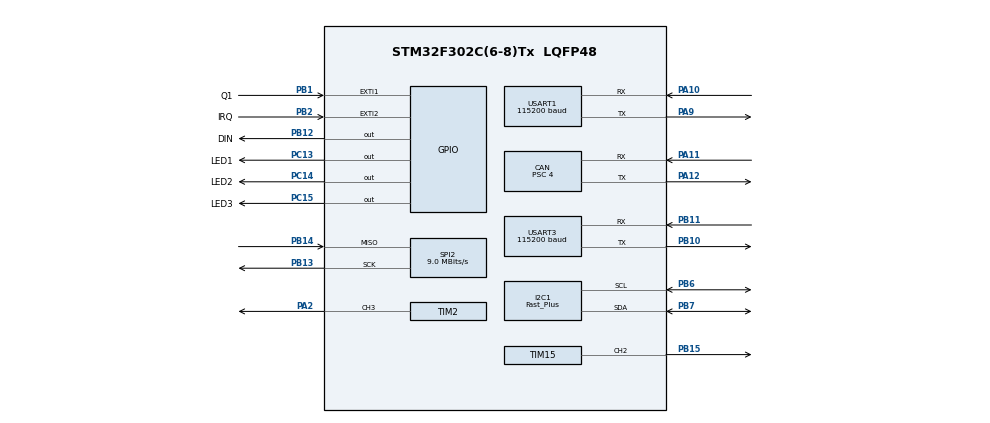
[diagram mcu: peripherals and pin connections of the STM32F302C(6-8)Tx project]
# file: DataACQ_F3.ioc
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CAN.BS1=CAN_BS1_4TQ
CAN.BS2=CAN_BS2_4TQ
CAN.CalculateBaudRate=1000000
CAN.CalculateTimeBit=1000
CAN.CalculateTimeQuantum=111.11111111111111
CAN.Prescaler=4
Dma.Request0=TIM2_CH3
Dma.TIM2_CH3.0.Direction=DMA_MEMORY_TO_PERIPH
Dma.TIM2_CH3.0.Instance=DMA1_Channel1
Dma.TIM2_CH3.0.MemDataAlignment=DMA_MDATAALIGN_HALFWORD
Dma.TIM2_CH3.0.MemInc=DMA_MINC_ENABLE
Dma.TIM2_CH3.0.Mode=DMA_NORMAL
Dma.TIM2_CH3.0.PeriphDataAlignment=DMA_PDATAALIGN_WORD
Dma.TIM2_CH3.0.PeriphInc=DMA_PINC_DISABLE
Dma.TIM2_CH3.0.Priority=DMA_PRIORITY_HIGH
I2C1.I2C_Speed_Mode=I2C_Fast_Plus
I2C1.Timing=0x00000001
Mcu.Family=STM32F3
Mcu.Name=STM32F302C(6-8)Tx
Mcu.Package=LQFP48
NVIC.DMA1_Channel1_IRQn=true\:0\:0\:false\:false\:true\:false\:true\:true
NVIC.EXTI2_TSC_IRQn=true\:0\:0\:false\:false\:true\:true\:true\:true
NVIC.PriorityGroup=NVIC_PRIORITYGROUP_4
NVIC.USART3_IRQn=true\:0\:0\:true\:false\:true\:true\:true\:true
PA10.Mode=Asynchronous
PA10.Signal=USART1_RX
PA11.GPIO_PuPd=GPIO_PULLUP
PA11.Mode=CAN_Activate
PA11.Signal=CAN_RX
PA12.GPIO_PuPd=GPIO_PULLUP
PA12.Mode=CAN_Activate
PA12.Signal=CAN_TX
PA13.Mode=JTAG_5_pins
PA13.Signal=SYS_JTMS-SWDIO
PA14.Mode=JTAG_5_pins
PA14.Signal=SYS_JTCK-SWCLK
PA15.Mode=JTAG_5_pins
PA15.Signal=SYS_JTDI
PA2.Signal=S_TIM2_CH3
PA9.Mode=Asynchronous
PA9.Signal=USART1_TX
PB1.GPIO_Label=Q1
PB1.Signal=GPXTI1
PB10.Mode=Asynchronous
PB10.Signal=USART3_TX
PB11.Mode=Asynchronous
PB11.Signal=USART3_RX
PB12.GPIO_Label=DIN
PB12.GPIO_PuPd=GPIO_PULLUP
PB12.GPIO_Speed=GPIO_SPEED_FREQ_HIGH
PB12.Signal=GPIO_Output
PB13.GPIO_PuPd=GPIO_PULLUP
PB13.Mode=RX_Only_Simplex_Unidirect_Master
PB13.Signal=SPI2_SCK
PB14.GPIO_PuPd=GPIO_PULLUP
PB14.Mode=RX_Only_Simplex_Unidirect_Master
PB14.Signal=SPI2_MISO
PB15.Signal=S_TIM15_CH2
PB2.GPIO_Label=IRQ
PB2.GPIO_ModeDefaultEXTI=GPIO_MODE_IT_FALLING
PB2.Signal=GPXTI2
PB3.Mode=JTAG_5_pins
PB3.Signal=SYS_JTDO-TRACESWO
PB4.Mode=JTAG_5_pins
PB4.Signal=SYS_NJTRST
PB6.GPIO_Pu=GPIO_PULLUP
PB6.Mode=I2C
PB6.Signal=I2C1_SCL
PB7.GPIO_Pu=GPIO_PULLUP
PB7.Mode=I2C
PB7.Signal=I2C1_SDA
PC13.GPIO_Label=LED1
PC13.Signal=GPIO_Output
PC14\ -\ OSC32_IN.GPIO_Label=LED2
PC14\ -\ OSC32_IN.Signal=GPIO_Output
PC15\ -\ OSC32_OUT.GPIO_Label=LED3
PC15\ -\ OSC32_OUT.Signal=GPIO_Output
PF0-OSC_IN.Mode=HSE-External-Oscillator
PF0-OSC_IN.Signal=RCC_OSC_IN
PF1-OSC_OUT.Mode=HSE-External-Oscillator
PF1-OSC_OUT.Signal=RCC_OSC_OUT
ProjectManager.HeapSize=0x200
ProjectManager.StackSize=0x400
ProjectManager.TargetToolchain=MDK-ARM V5.27
RCC.AHBFreq_Value=72000000
RCC.APB1CLKDivider=RCC_HCLK_DIV2
RCC.APB1Freq_Value=36000000
RCC.APB1TimFreq_Value=72000000
RCC.APB2Freq_Value=72000000
RCC.APB2TimFreq_Value=72000000
RCC.CortexFreq_Value=72000000
RCC.HCLKFreq_Value=72000000
RCC.HSE_VALUE=8000000
RCC.HSI_VALUE=8000000
RCC.LSE_VALUE=32768
RCC.PLLMUL=RCC_PLL_MUL9
RCC.PLLSourceVirtual=RCC_PLLSOURCE_HSE
RCC.SYSCLKFreq_VALUE=72000000
RCC.SYSCLKSourceVirtual=RCC_SYSCLKSOURCE_PLLCLK
RCC.USBFreq_Value=72000000
SH.S_TIM15_CH2.0=TIM15_CH2,PWM Generation2 CH2
SH.S_TIM2_CH3.0=TIM2_CH3,PWM Generation3 CH3
SPI2.BaudRatePrescaler=SPI_BAUDRATEPRESCALER_4
SPI2.CalculateBaudRate=9.0 MBits/s
SPI2.DataSize=SPI_DATASIZE_8BIT
SPI2.Direction=SPI_DIRECTION_2LINES_RXONLY
SPI2.Mode=SPI_MODE_MASTER
SPI2.VirtualType=VM_MASTER
TIM15.Channel-PWM\ Generation2\ CH2=TIM_CHANNEL_2
TIM15.Period=179
TIM2.Channel-PWM\ Generation3\ CH3=TIM_CHANNEL_3
TIM2.Period=89
USART1.BaudRate=115200
USART1.VirtualMode-Asynchronous=VM_ASYNC
USART3.BaudRate=115200
USART3.VirtualMode-Asynchronous=VM_ASYNC
board=custom

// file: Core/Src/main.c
/* USER CODE BEGIN Header */
/**
  ******************************************************************************
  * @file           : main.c
  * @brief          : Main program body
  ******************************************************************************
  * @attention
  *
  * <h2><center>&copy; Copyright (c) 2022 STMicroelectronics.
  * All rights reserved.</center></h2>
  *
  * This software component is licensed by ST under Ultimate Liberty license
  * SLA0044, the "License"; You may not use this file except in compliance with
  * the License. You may obtain a copy of the License at:
  *                             www.st.com/SLA0044
  *
  ******************************************************************************
  */
/* USER CODE END Header */
#include "main.h"
#include "can.h"
#include "dma.h"
#include "i2c.h"
#include "spi.h"
#include "tim.h"
#include "usart.h"
#include "gpio.h"

/* USER CODE BEGIN Includes */
#include "ads8864.h"
#include "arm_math.h"
#include "can_bsp.h"
#include "oled.h"
#include "stdio.h"
/* USER CODE END Includes */

/* USER CODE BEGIN PV */
extern uint8_t adc_data[BUFFER_SIZE];
extern int adc_rawdata[ADC_SAMPLE_SIZE];
extern int adc_FIRdata[ADC_SAMPLE_SIZE];
extern int adc_mean[2];

float k = 0.06725f;
float bias = -194.7f;
int MM_Out = 0;
uint8_t TxData[8]={0};

uint16_t RGB = 180;
/* USER CODE END PV */

void SystemClock_Config(void);

int main(void)
{

  /* MCU Configuration--------------------------------------------------------*/

  /* Reset of all peripherals, Initializes the Flash interface and the Systick. */
  HAL_Init();

  /* Configure the system clock */
  SystemClock_Config();

  /* Initialize all configured peripherals */
  MX_GPIO_Init();
  MX_DMA_Init();
  MX_CAN_Init();
  MX_SPI2_Init();
  MX_USART1_UART_Init();
  MX_I2C1_Init();
  MX_USART3_UART_Init();
  MX_TIM2_Init();
  MX_TIM15_Init();
  /* USER CODE BEGIN 2 */

	CAN_Init(&hcan);
	ads8864_Init();

	/*OLED初始化*/
//	oled_init();
//	oled_show_init();

	LL_mDelay(20);

  /* USER CODE END 2 */

  /* Infinite loop */
  while (1)
  {

    /* USER CODE BEGIN 3 */

/**************滤波器*******************/
		Mean_filter();

/**************Calc**********************/
		MM_Out = k*adc_mean[0] + bias;
		memcpy(TxData,&MM_Out,4);

/**************CAN**********************/
		CAN_SendData(&hcan,TxData,0x023);

/**************OLED**********************/
//		static int16_t Show_Counter = 100;
//		if(!(Show_Counter--)){
//			oled_show_info(adc_mean[0]);
//			Show_Counter = 100;
//		}

/**************UART**********************/
		//macroUSB
		static int16_t Print_Counter = 100;
		if(!(Print_Counter--)){
			printf("%d,",adc_mean[0]);
			Print_Counter = 100;
		}

		HAL_Delay(1);
  }
  /* USER CODE END 3 */
}

void SystemClock_Config(void)
{
  LL_FLASH_SetLatency(LL_FLASH_LATENCY_2);
  while(LL_FLASH_GetLatency()!= LL_FLASH_LATENCY_2)
  {
  }
  LL_RCC_HSE_Enable();

   /* Wait till HSE is ready */
  while(LL_RCC_HSE_IsReady() != 1)
  {

  }
  LL_RCC_HSI_Enable();

   /* Wait till HSI is ready */
  while(LL_RCC_HSI_IsReady() != 1)
  {

  }
  LL_RCC_HSI_SetCalibTrimming(16);
  LL_RCC_PLL_ConfigDomain_SYS(LL_RCC_PLLSOURCE_HSE_DIV_1, LL_RCC_PLL_MUL_9);
  LL_RCC_PLL_Enable();

   /* Wait till PLL is ready */
  while(LL_RCC_PLL_IsReady() != 1)
  {

  }
  LL_RCC_SetAHBPrescaler(LL_RCC_SYSCLK_DIV_1);
  LL_RCC_SetAPB1Prescaler(LL_RCC_APB1_DIV_2);
  LL_RCC_SetAPB2Prescaler(LL_RCC_APB2_DIV_1);
  LL_RCC_SetSysClkSource(LL_RCC_SYS_CLKSOURCE_PLL);

   /* Wait till System clock is ready */
  while(LL_RCC_GetSysClkSource() != LL_RCC_SYS_CLKSOURCE_STATUS_PLL)
  {

  }
  LL_SetSystemCoreClock(72000000);

   /* Update the time base */
  if (HAL_InitTick (TICK_INT_PRIORITY) != HAL_OK)
  {
    Error_Handler();
  }
  LL_RCC_SetUSARTClockSource(LL_RCC_USART1_CLKSOURCE_PCLK1);
  LL_RCC_SetI2CClockSource(LL_RCC_I2C1_CLKSOURCE_HSI);
  LL_RCC_SetTIMClockSource(LL_RCC_TIM15_CLKSOURCE_PCLK2);
}

void Error_Handler(void)
{
  __disable_irq();
  while (1)
  {
  }
}
